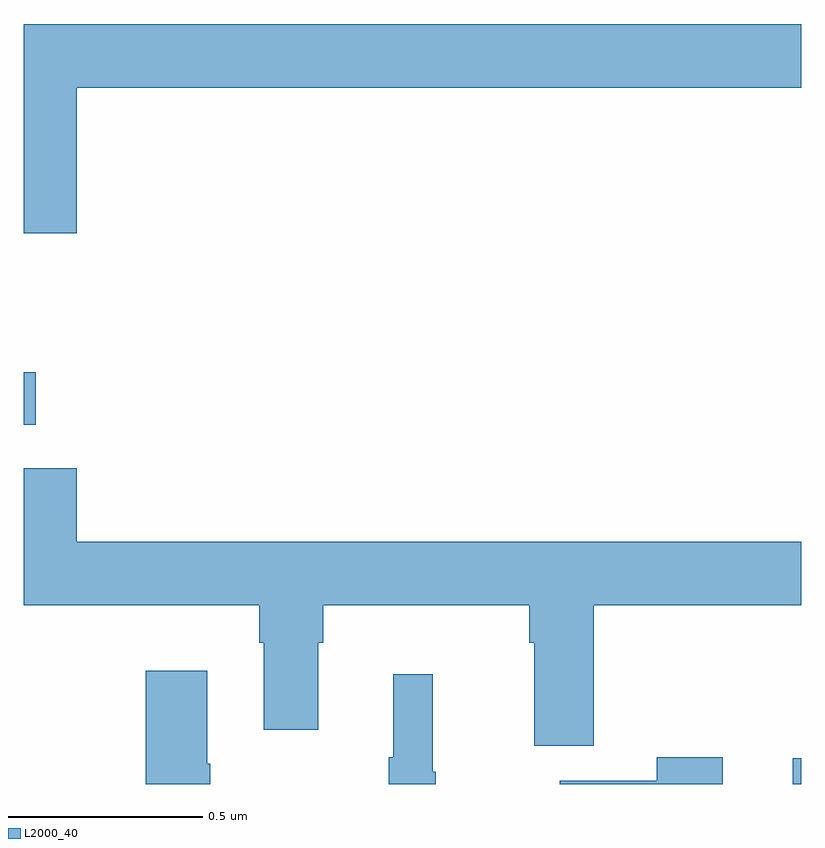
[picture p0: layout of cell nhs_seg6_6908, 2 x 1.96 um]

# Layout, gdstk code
import gdstk
lib = gdstk.Library(unit=1e-6, precision=1e-09)
def R(c, l, rs):  # rectangles x0, y0, x1, y1
    for r in rs: c.add(gdstk.rectangle(r[:2], r[2:], *l))
def P(c, l, *ps):  # polygons
    for p in ps: c.add(gdstk.Polygon(p, *l))
L2000_40 = (2000, 40)

nhs_seg6_6908 = lib.new_cell('nhs_seg6_6908')
R(nhs_seg6_6908, L2000_40, [(202.979,989.5,203,989.566), (201,990.425,201.031,990.56)])
P(nhs_seg6_6908, L2000_40, [(201.136,991.292),(203,991.292),(203,991.456),(201,991.456),(201,990.918),(201.136,990.918)],
  [(202.466,989.96),(203,989.96),(203,990.124),(201.136,990.124),(201.136,990.313),(201,990.313),(201,989.96),(201.605,989.96),(201.605,989.864),(201.617,989.864),(201.617,989.64),(201.757,989.64),(201.757,989.864),(201.77,989.864),(201.77,989.96),(202.301,989.96),(202.301,989.864),(202.313,989.864),(202.313,989.598),(202.466,989.598)],
  [(201.48,989.552),(201.472,989.552),(201.472,989.791),(201.314,989.791),(201.314,989.5),(201.48,989.5)],
  [(202.06,989.532),(202.052,989.532),(202.052,989.782),(201.95,989.782),(201.95,989.569),(201.939,989.569),(201.939,989.5),(202.06,989.5)],
  [(202.798,989.569),(202.628,989.569),(202.628,989.509),(202.379,989.509),(202.379,989.5),(202.798,989.5)])

lib.write_gds('nhs_seg6_6908.gds')
